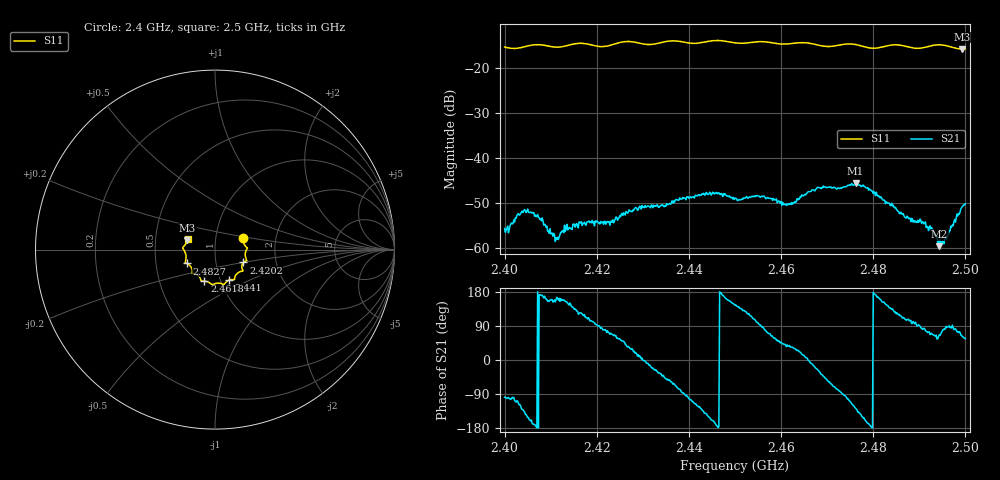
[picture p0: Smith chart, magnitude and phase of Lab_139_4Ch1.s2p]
# Hz S RI R 50
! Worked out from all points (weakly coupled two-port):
!   601 points, 2.4 GHz to 2.5 GHz, reference 50 ohm
!   highest |S21| = -45.58 dB at 2.4762 GHz (marker M1); lowest = -59.6 dB at 2.4943 GHz (marker M2)
!   lowest |S11| = -15.8 dB at 2.4993 GHz (marker M3), VSWR 1.39, Z = 36.5 + j3.84 ohm
!   |S11| at or under -10 dB: start of sweep to end of sweep
!   S12 and S22 are empty: the file has one direction only
!   S11 on the Smith chart (normalised r, x): 2.4 GHz: 1.36, +0.18; 2.4202 GHz: 1.36, -0.20; 2.441 GHz: 1.10, -0.39; 2.4618 GHz: 0.84, -0.30; 2.4827 GHz: 0.72, -0.12; 2.5 GHz: 0.73, +0.09
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2.4e9  0.1584 0.063  -0.000235 -0.00162  0 0  0 0
2.404667e9  0.1727 0.0154  -0.00199 -0.00146  0 0  0 0
2.407667e9  0.1806 0.00751  -0.00205 0.000266  0 0  0 0
2.411333e9  0.1685 -0.02  -0.0012 0.000316  0 0  0 0
2.413e9  0.1694 -0.0393  -0.00165 0.000688  0 0  0 0
2.416667e9  0.1771 -0.061  -0.00107 0.00164  0 0  0 0
2.420167e9  0.1586 -0.0713  -5.11e-06 0.00198  0 0  0 0
2.433333e9  0.1115 -0.1506  0.00234 -0.00161  0 0  0 0
2.441e9  0.0789 -0.1697  -0.00137 -0.00342  0 0  0 0
2.4455e9  0.0508 -0.1943  -0.0038 -0.00109  0 0  0 0
2.45e9  0.0284 -0.1876  -0.00291 0.00206  0 0  0 0
2.454833e9  -0.0118 -0.1946  -0.00056 0.00376  0 0  0 0
2.461833e9  -0.0591 -0.1755  0.00238 0.00188  0 0  0 0
2.466667e9  -0.0789 -0.1683  0.00432 -0.000728  0 0  0 0
2.476167e9  -0.1273 -0.1296  -0.00319 -0.00419  0 0  0 0
2.482667e9  -0.1562 -0.0773  -0.00261 0.00167  0 0  0 0
2.483333e9  -0.1605 -0.0752  -0.00243 0.00199  0 0  0 0
2.490833e9  -0.1667 -0.0136  0.000276 0.00191  0 0  0 0
2.494333e9  -0.18 0.01  0.000413 0.00096  0 0  0 0
2.495667e9  -0.1764 0.0153  0.000179 0.00129  0 0  0 0
2.499333e9  -0.154 0.0513  0.00137 0.00253  0 0  0 0
2.5e9  -0.1522 0.0607  0.0017 0.00258  0 0  0 0
